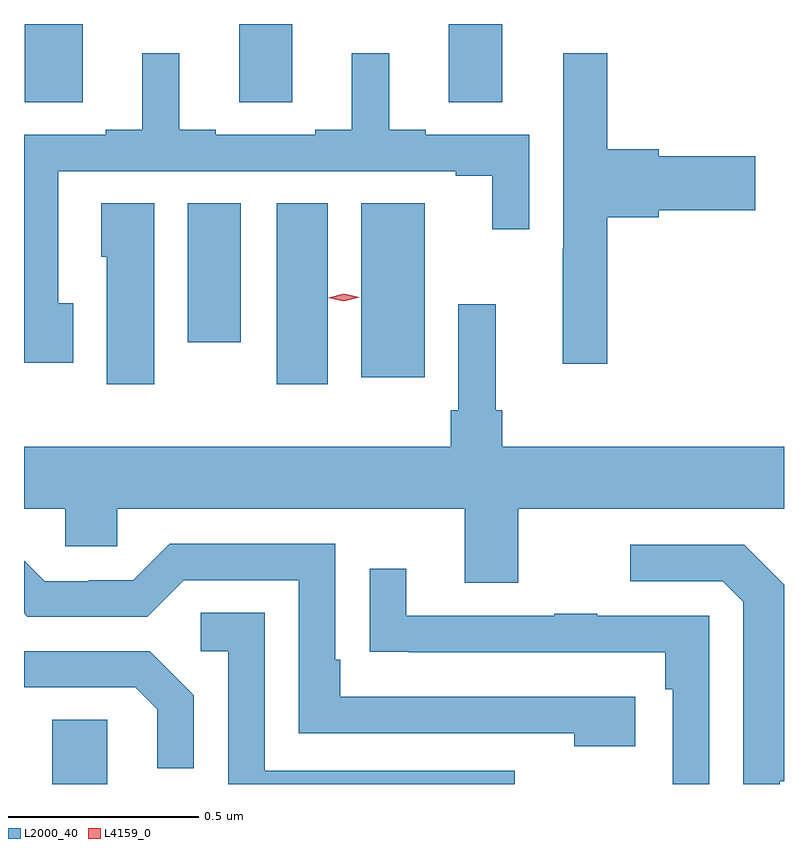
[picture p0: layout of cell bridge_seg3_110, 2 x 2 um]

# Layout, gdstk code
import gdstk
lib = gdstk.Library(unit=1e-6, precision=1e-09)
def R(c, l, rs):  # rectangles x0, y0, x1, y1
    for r in rs: c.add(gdstk.rectangle(r[:2], r[2:], *l))
def P(c, l, *ps):  # polygons
    for p in ps: c.add(gdstk.Polygon(p, *l))
L2000_40 = (2000, 40)
L4159_0 = (4159, 0)

bridge_seg3_110 = lib.new_cell('bridge_seg3_110')
R(bridge_seg3_110, L2000_40, [(169.877,713.512,170.022,713.681), (170.468,714.564,170.602,715.04), (170.69,714.582,170.857,715.04), (170.234,714.675,170.374,715.04), (169.805,715.306,169.957,715.512), (170.369,715.306,170.509,715.512), (170.921,715.306,171.061,715.512)])
P(bridge_seg3_110, L2000_40, [(171.338,715.004),(171.474,715.004),(171.474,715.022),(171.727,715.022),(171.727,715.164),(171.474,715.164),(171.474,715.182),(171.338,715.182),(171.338,715.435),(171.222,715.435),(171.222,714.92),(171.221,714.92),(171.221,714.618),(171.338,714.618)],
  [(169.933,714.777),(169.893,714.777),(169.893,715.125),(170.939,715.125),(170.939,715.113),(171.035,715.113),(171.035,714.972),(171.132,714.972),(171.132,715.221),(170.86,715.221),(170.86,715.234),(170.764,715.234),(170.764,715.435),(170.666,715.435),(170.666,715.234),(170.57,715.234),(170.57,715.221),(170.308,715.221),(170.308,715.234),(170.212,715.234),(170.212,715.435),(170.114,715.435),(170.114,715.234),(170.018,715.234),(170.018,715.221),(169.803,715.221),(169.803,714.621),(169.933,714.621)],
  [(170.146,715.04),(170.006,715.04),(170.006,714.9),(170.021,714.9),(170.021,714.564),(170.146,714.564)],
  [(171.103,714.236),(171.803,714.236),(171.803,714.4),(171.062,714.4),(171.062,714.496),(171.044,714.496),(171.044,714.775),(170.946,714.775),(170.946,714.496),(170.926,714.496),(170.926,714.4),(169.803,714.4),(169.803,714.236),(169.911,714.236),(169.911,714.138),(170.049,714.138),(170.049,714.236),(170.963,714.236),(170.963,714.042),(171.103,714.042)],
  [(171.412,713.742),(170.635,713.742),(170.635,713.839),(170.622,713.839),(170.622,714.144),(170.187,714.144),(170.091,714.048),(169.973,714.048),(169.973,714.045),(169.857,714.045),(169.803,714.099),(169.803,713.961),(169.812,713.952),(170.127,713.952),(170.223,714.048),(170.526,714.048),(170.526,713.646),(171.251,713.646),(171.251,713.612),(171.412,713.612)],
  [(171.792,713.519),(171.803,713.519),(171.803,714.037),(171.699,714.141),(171.399,714.141),(171.399,714.045),(171.642,714.045),(171.696,713.991),(171.696,713.512),(171.792,713.512)],
  [(171.606,713.955),(171.311,713.955),(171.311,713.96),(171.199,713.96),(171.199,713.955),(170.809,713.955),(170.809,714.079),(170.713,714.079),(170.713,713.86),(170.815,713.86),(170.815,713.859),(171.49,713.859),(171.49,713.762),(171.51,713.762),(171.51,713.512),(171.606,713.512)],
  [(171.095,713.547),(170.436,713.547),(170.436,713.963),(170.268,713.963),(170.268,713.862),(170.34,713.862),(170.34,713.512),(171.095,713.512)],
  [(170.25,713.746),(170.134,713.862),(169.803,713.862),(169.803,713.766),(170.096,713.766),(170.153,713.709),(170.153,713.553),(170.25,713.553)])
P(bridge_seg3_110, L4159_0, [(170.645,714.782),(170.604,714.792),(170.604,714.792),(170.604,714.792),(170.645,714.802),(170.686,714.793),(170.686,714.793),(170.686,714.793)])

lib.write_gds('bridge_seg3_110.gds')
